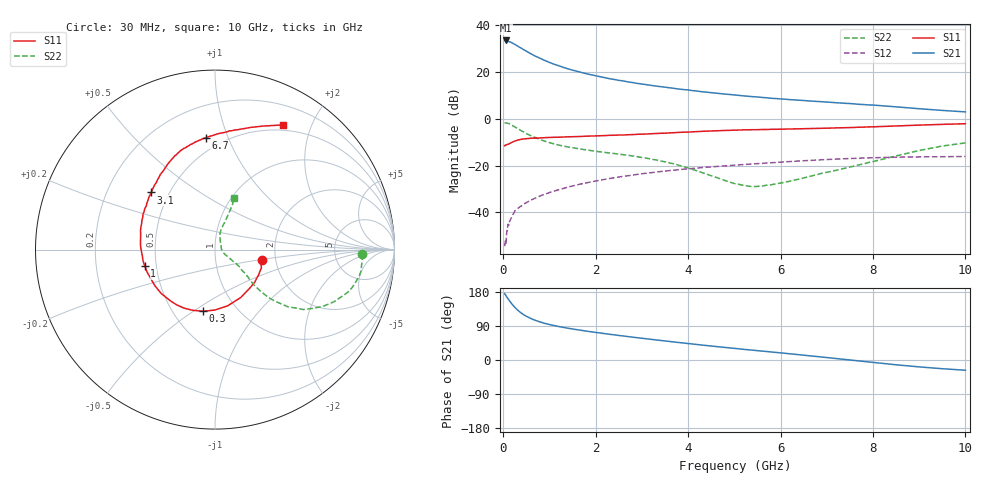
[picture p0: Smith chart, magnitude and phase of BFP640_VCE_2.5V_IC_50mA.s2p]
! (c) 2013  Infineon Technologies AG, Munich
! Infineon Technologies  Discrete & RF Semiconductors
! BFP640
! VCE =  2.5 V,  IC =  50 mA
! Common Emitter S-Parameters:  Apr 2013
# GHz  S  MA  R  50
!  f  S11  S21  S12  S22
! GHz  MAG  ANG  MAG  ANG  MAG  ANG  MAG  ANG
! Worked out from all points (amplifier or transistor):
!   99 points, 30 MHz to 10 GHz, reference 50 ohm
!   highest |S21| = 33.6 dB at 50 MHz (marker M1)
!   |S21| within 3 dB of that: start of sweep to 362.6 MHz
!   unconditionally stable (mu >= 1): start of sweep to 70.52 MHz; 1.129 GHz to end of sweep
!   at 350 MHz: K = 0.66, MSG = 34.2 dB, |S12| = -37.7 dB
!   at 3.5 GHz: K = 1.13, MAG = 15.7 dB, |S12| = -22.3 dB
!   at 10 GHz: K = 1.11, MAG = 7.5 dB, |S12| = -16.0 dB
!   S11 on the Smith chart (normalised r, x): 30 MHz: 1.69, -0.22; 300 MHz: 0.70, -0.55; 1 GHz: 0.43, -0.10; 3.1 GHz: 0.40, +0.33; 6.7 GHz: 0.41, +0.83; 10 GHz: 0.43, +1.60
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0.03  0.2679 -13.1  47.04 175.0  0.0019 86.2  0.8193 -1.9
0.04  0.2701 -17.9  46.99 173.4  0.0022 71.6  0.8233 -3.5
0.05  0.2781 -21.5  47.82 171.7  0.0025 91.2  0.8224 -5.0
0.09  0.2859 -38.9  46.8 164.0  0.0041 72.1  0.8153 -10.9
0.15  0.3032 -61.8  44.48 153.8  0.0068 72.6  0.7695 -18.6
0.2  0.321 -77.3  41.99 146.0  0.0086 68.6  0.7238 -23.7
0.25  0.337 -90.2  39.51 139.2  0.0107 67.9  0.6789 -27.8
0.3  0.3499 -101.1  36.91 133.1  0.0117 66.6  0.633 -31.2
0.35  0.3604 -110.2  34.39 127.8  0.013 65.7  0.594 -34.2
0.45  0.3744 -124.6  30.1 119.0  0.0152 63.5  0.523 -37.9
0.6  0.3871 -141.0  24.7 109.3  0.0184 62.7  0.4376 -40.8
0.8  0.3926 -155.4  19.83 100.3  0.0226 62.0  0.3627 -42.2
1  0.4019 -166.7  16.22 93.6  0.0267 62.3  0.3118 -42.3
1.3  0.4111 -179.4  12.7 86.1  0.0326 61.7  0.2633 -41.1
1.7  0.4233 168.1  9.846 78.1  0.041 60.0  0.2253 -38.8
2.3  0.4469 153.8  7.273 67.9  0.0533 56.2  0.1872 -37.3
3.1  0.4769 138.1  5.418 55.9  0.0693 49.8  0.1448 -33.7
3.4  0.4934 132.8  4.92 51.7  0.0749 47.3  0.1263 -33.6
5.1  0.5792 110.1  3.197 29.5  0.1041 32.8  0.04 -7.0
6.7  0.6262 94.8  2.402 10.2  0.1307 19.1  0.0615 61.8
8.5  0.7087 73.8  1.818 -12.6  0.152 1.3  0.162 70.5
10  0.7906 61.5  1.417 -27.0  0.1576 -10.2  0.3075 69.7
